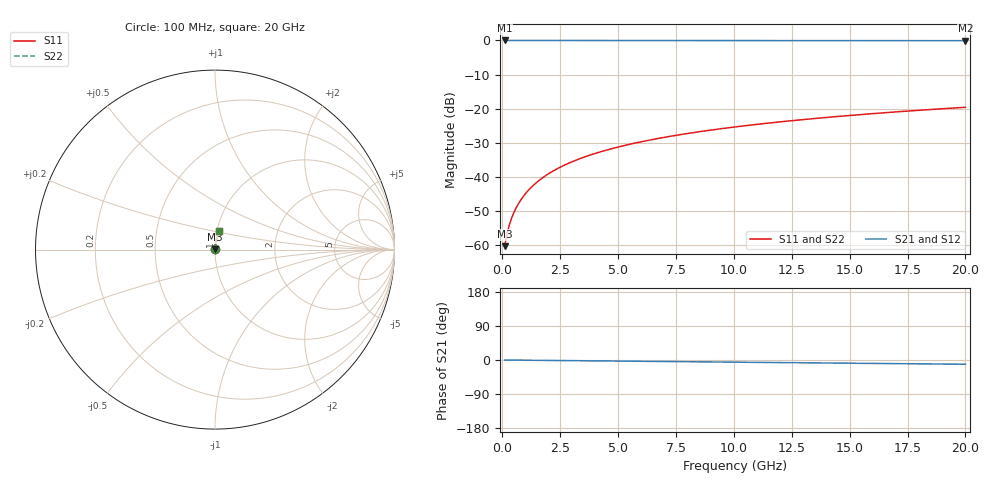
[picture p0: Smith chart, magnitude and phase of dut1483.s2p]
! Touchstone file exported from HFSS 2026.1.0
!  File:  C:/ffzhzh/LocalFiles/Ansys_Project_Files/temp_train_BSMRDL_1483_1783181372_22436.aedt
!  Generated:  12:10:44 AM Jul  5, 2026
!  Design:  BSMRDL
!  Project:  temp_train_BSMRDL_1483_1783181372_22436
! Variables:
!  h_bsmrdl = 3.89um
!  h_ox = 20um
!  h_rdl = 5um
!  h_sub = 80um
!  h_tmrdl = 5um
!  h_tsv = 80um
!  h_via = 3um
!  l_bsmrdl = 136.58um
!  l_sub = 536.58um
!  l_tmrdl = 200um
!  m_sub = 200um
!  pitch = 44.45um
!  r_tsv = 6um
!  s_tmrdl = 10um
!  w_bsmrdl = 23.38um
!  w_sub = 500um
!  w_tmrdl = 12um
!  x_tsv_center1 = 206um
!  x_tsv_center2 = 365.96um
!  x_tsv_center3 = 577.96um
!  x_tsv_center4 = 737.92um
!  x_tsv_center5 = 949.92um
!  x_tsv_center6 = 1109.88um
# GHz S MA R 50.000000
! Terminal data exported
! Port[1] = BSM_RDL1_1_T1
! Port[2] = BSM_RDL1_1_T2
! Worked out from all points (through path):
!   200 points, 100 MHz to 20 GHz, reference 50 ohm
!   highest |S21| = -0.01 dB at 100 MHz (marker M1); lowest = -0.1 dB at 20 GHz (marker M2)
!   group delay of S21, straight-line fit = 1.56 ps
!   lowest |S11| = -60.3 dB at 100 MHz (marker M3), VSWR 1.00, Z = 50.1 + j0.0614 ohm
!   |S11| at or under -10 dB: start of sweep to end of sweep
!   |S22| runs from -60.3 to -19.6 dB; largest |S21 - S12| = 2.2e-15
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0.1  0.0009641 39.5  0.9993 -0.1  0.9993 -0.1  0.0009641 39.5
! Gamma 0 0 0 0
! Port Impedance 50 0 50 0
0.2  0.001436 56.7  0.9992 -0.1  0.9992 -0.1  0.001436 56.7
0.3  0.001949 64.8  0.9992 -0.2  0.9992 -0.2  0.001949 64.8
0.4  0.00247 69.4  0.9991 -0.2  0.9991 -0.2  0.00247 69.4
0.5  0.002995 72.6  0.9991 -0.3  0.9991 -0.3  0.002995 72.6
0.6  0.003525 74.9  0.9991 -0.4  0.9991 -0.4  0.003525 74.9
0.8  0.004594 77.9  0.9991 -0.5  0.9991 -0.5  0.004594 77.9
1.1  0.006216 80.5  0.999 -0.6  0.999 -0.6  0.006216 80.5
1.3  0.007304 81.6  0.999 -0.8  0.999 -0.8  0.007304 81.6
1.6  0.008942 82.6  0.999 -0.9  0.999 -0.9  0.008942 82.6
2.1  0.01167 83.6  0.9989 -1.2  0.9989 -1.2  0.01167 83.6
2.7  0.01495 84.1  0.9987 -1.6  0.9987 -1.6  0.01495 84.1
3.5  0.0193 84.2  0.9985 -2.0  0.9985 -2.0  0.0193 84.2
4.2  0.02308 84.1  0.9983 -2.4  0.9983 -2.4  0.02308 84.1
5  0.02737 83.9  0.9981 -2.9  0.9981 -2.9  0.02737 83.9
5.9  0.03217 83.6  0.9978 -3.4  0.9978 -3.4  0.03217 83.6
6.8  0.03694 83.2  0.9975 -3.9  0.9975 -3.9  0.03694 83.2
8.3  0.04483 82.6  0.9969 -4.7  0.9969 -4.7  0.04483 82.6
10.1  0.05421 81.7  0.9961 -5.7  0.9961 -5.7  0.05421 81.7
13.4  0.07125 80.2  0.9946 -7.6  0.9946 -7.6  0.07125 80.2
16.7  0.0881 78.5  0.9929 -9.4  0.9929 -9.4  0.0881 78.5
20  0.1048 76.9  0.991 -11.2  0.991 -11.2  0.1048 76.9
